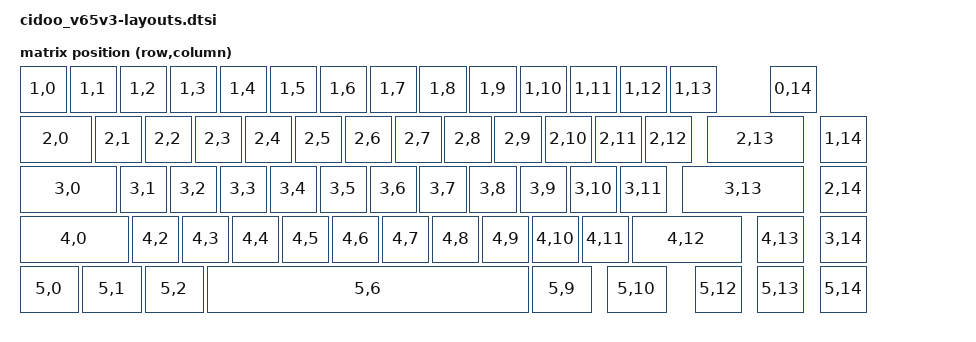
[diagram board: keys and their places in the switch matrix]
/*
 * SPDX-License-Identifier: GPL-3.0-or-later
 */

/*
 * CIDOO V65 V3: matrix transform and physical layout.
 * Generated by gen_v65v3.py from Cidoo's CIDOO_V65_V3_USB.JSON.
 */

#include <dt-bindings/zmk/matrix_transform.h>
#include <physical_layouts.dtsi>

/ {
    default_transform: keymap_transform_0 {
        compatible = "zmk,matrix-transform";
        rows = <6>;
        columns = <15>;
        map = <
            RC(1,0) RC(1,1) RC(1,2) RC(1,3) RC(1,4) RC(1,5) RC(1,6) RC(1,7) RC(1,8) RC(1,9) RC(1,10) RC(1,11) RC(1,12) RC(1,13) RC(0,14) 
            RC(2,0) RC(2,1) RC(2,2) RC(2,3) RC(2,4) RC(2,5) RC(2,6) RC(2,7) RC(2,8) RC(2,9) RC(2,10) RC(2,11) RC(2,12) RC(2,13) RC(1,14) 
            RC(3,0) RC(3,1) RC(3,2) RC(3,3) RC(3,4) RC(3,5) RC(3,6) RC(3,7) RC(3,8) RC(3,9) RC(3,10) RC(3,11) RC(3,13) RC(2,14) 
            RC(4,0) RC(4,2) RC(4,3) RC(4,4) RC(4,5) RC(4,6) RC(4,7) RC(4,8) RC(4,9) RC(4,10) RC(4,11) RC(4,12) RC(4,13) RC(3,14) 
            RC(5,0) RC(5,1) RC(5,2) RC(5,6) RC(5,9) RC(5,10) RC(5,12) RC(5,13) RC(5,14) 
        >;
    };

    v65v3_layout: v65v3_layout {
        compatible = "zmk,physical-layout";
        display-name = "ANSI 65%";
        transform = <&default_transform>;
        keys  //                     w   h    x    y  rot  rx  ry
            = <&key_physical_attrs 100 100    0  100    0   0   0>  // 1,0
            , <&key_physical_attrs 100 100  100  100    0   0   0>  // 1,1
            , <&key_physical_attrs 100 100  200  100    0   0   0>  // 1,2
            , <&key_physical_attrs 100 100  300  100    0   0   0>  // 1,3
            , <&key_physical_attrs 100 100  400  100    0   0   0>  // 1,4
            , <&key_physical_attrs 100 100  500  100    0   0   0>  // 1,5
            , <&key_physical_attrs 100 100  600  100    0   0   0>  // 1,6
            , <&key_physical_attrs 100 100  700  100    0   0   0>  // 1,7
            , <&key_physical_attrs 100 100  800  100    0   0   0>  // 1,8
            , <&key_physical_attrs 100 100  900  100    0   0   0>  // 1,9
            , <&key_physical_attrs 100 100 1000  100    0   0   0>  // 1,10
            , <&key_physical_attrs 100 100 1100  100    0   0   0>  // 1,11
            , <&key_physical_attrs 100 100 1200  100    0   0   0>  // 1,12
            , <&key_physical_attrs 100 100 1300  100    0   0   0>  // 1,13
            , <&key_physical_attrs 100 100 1500  100    0   0   0>  // 0,14
            , <&key_physical_attrs 150 100    0  200    0   0   0>  // 2,0
            , <&key_physical_attrs 100 100  150  200    0   0   0>  // 2,1
            , <&key_physical_attrs 100 100  250  200    0   0   0>  // 2,2
            , <&key_physical_attrs 100 100  350  200    0   0   0>  // 2,3
            , <&key_physical_attrs 100 100  450  200    0   0   0>  // 2,4
            , <&key_physical_attrs 100 100  550  200    0   0   0>  // 2,5
            , <&key_physical_attrs 100 100  650  200    0   0   0>  // 2,6
            , <&key_physical_attrs 100 100  750  200    0   0   0>  // 2,7
            , <&key_physical_attrs 100 100  850  200    0   0   0>  // 2,8
            , <&key_physical_attrs 100 100  950  200    0   0   0>  // 2,9
            , <&key_physical_attrs 100 100 1050  200    0   0   0>  // 2,10
            , <&key_physical_attrs 100 100 1150  200    0   0   0>  // 2,11
            , <&key_physical_attrs 100 100 1250  200    0   0   0>  // 2,12
            , <&key_physical_attrs 200 100 1375  200    0   0   0>  // 2,13
            , <&key_physical_attrs 100 100 1600  200    0   0   0>  // 1,14
            , <&key_physical_attrs 200 100    0  300    0   0   0>  // 3,0
            , <&key_physical_attrs 100 100  200  300    0   0   0>  // 3,1
            , <&key_physical_attrs 100 100  300  300    0   0   0>  // 3,2
            , <&key_physical_attrs 100 100  400  300    0   0   0>  // 3,3
            , <&key_physical_attrs 100 100  500  300    0   0   0>  // 3,4
            , <&key_physical_attrs 100 100  600  300    0   0   0>  // 3,5
            , <&key_physical_attrs 100 100  700  300    0   0   0>  // 3,6
            , <&key_physical_attrs 100 100  800  300    0   0   0>  // 3,7
            , <&key_physical_attrs 100 100  900  300    0   0   0>  // 3,8
            , <&key_physical_attrs 100 100 1000  300    0   0   0>  // 3,9
            , <&key_physical_attrs 100 100 1100  300    0   0   0>  // 3,10
            , <&key_physical_attrs 100 100 1200  300    0   0   0>  // 3,11
            , <&key_physical_attrs 250 100 1325  300    0   0   0>  // 3,13
            , <&key_physical_attrs 100 100 1600  300    0   0   0>  // 2,14
            , <&key_physical_attrs 225 100    0  400    0   0   0>  // 4,0
            , <&key_physical_attrs 100 100  225  400    0   0   0>  // 4,2
            , <&key_physical_attrs 100 100  325  400    0   0   0>  // 4,3
            , <&key_physical_attrs 100 100  425  400    0   0   0>  // 4,4
            , <&key_physical_attrs 100 100  525  400    0   0   0>  // 4,5
            , <&key_physical_attrs 100 100  625  400    0   0   0>  // 4,6
            , <&key_physical_attrs 100 100  725  400    0   0   0>  // 4,7
            , <&key_physical_attrs 100 100  825  400    0   0   0>  // 4,8
            , <&key_physical_attrs 100 100  925  400    0   0   0>  // 4,9
            , <&key_physical_attrs 100 100 1025  400    0   0   0>  // 4,10
            , <&key_physical_attrs 100 100 1125  400    0   0   0>  // 4,11
            , <&key_physical_attrs 225 100 1225  400    0   0   0>  // 4,12
            , <&key_physical_attrs 100 100 1475  400    0   0   0>  // 4,13
            , <&key_physical_attrs 100 100 1600  400    0   0   0>  // 3,14
            , <&key_physical_attrs 125 100    0  500    0   0   0>  // 5,0
            , <&key_physical_attrs 125 100  125  500    0   0   0>  // 5,1
            , <&key_physical_attrs 125 100  250  500    0   0   0>  // 5,2
            , <&key_physical_attrs 650 100  375  500    0   0   0>  // 5,6
            , <&key_physical_attrs 125 100 1025  500    0   0   0>  // 5,9
            , <&key_physical_attrs 125 100 1175  500    0   0   0>  // 5,10
            , <&key_physical_attrs 100 100 1350  500    0   0   0>  // 5,12
            , <&key_physical_attrs 100 100 1475  500    0   0   0>  // 5,13
            , <&key_physical_attrs 100 100 1600  500    0   0   0>  // 5,14
            ;
    };
};
